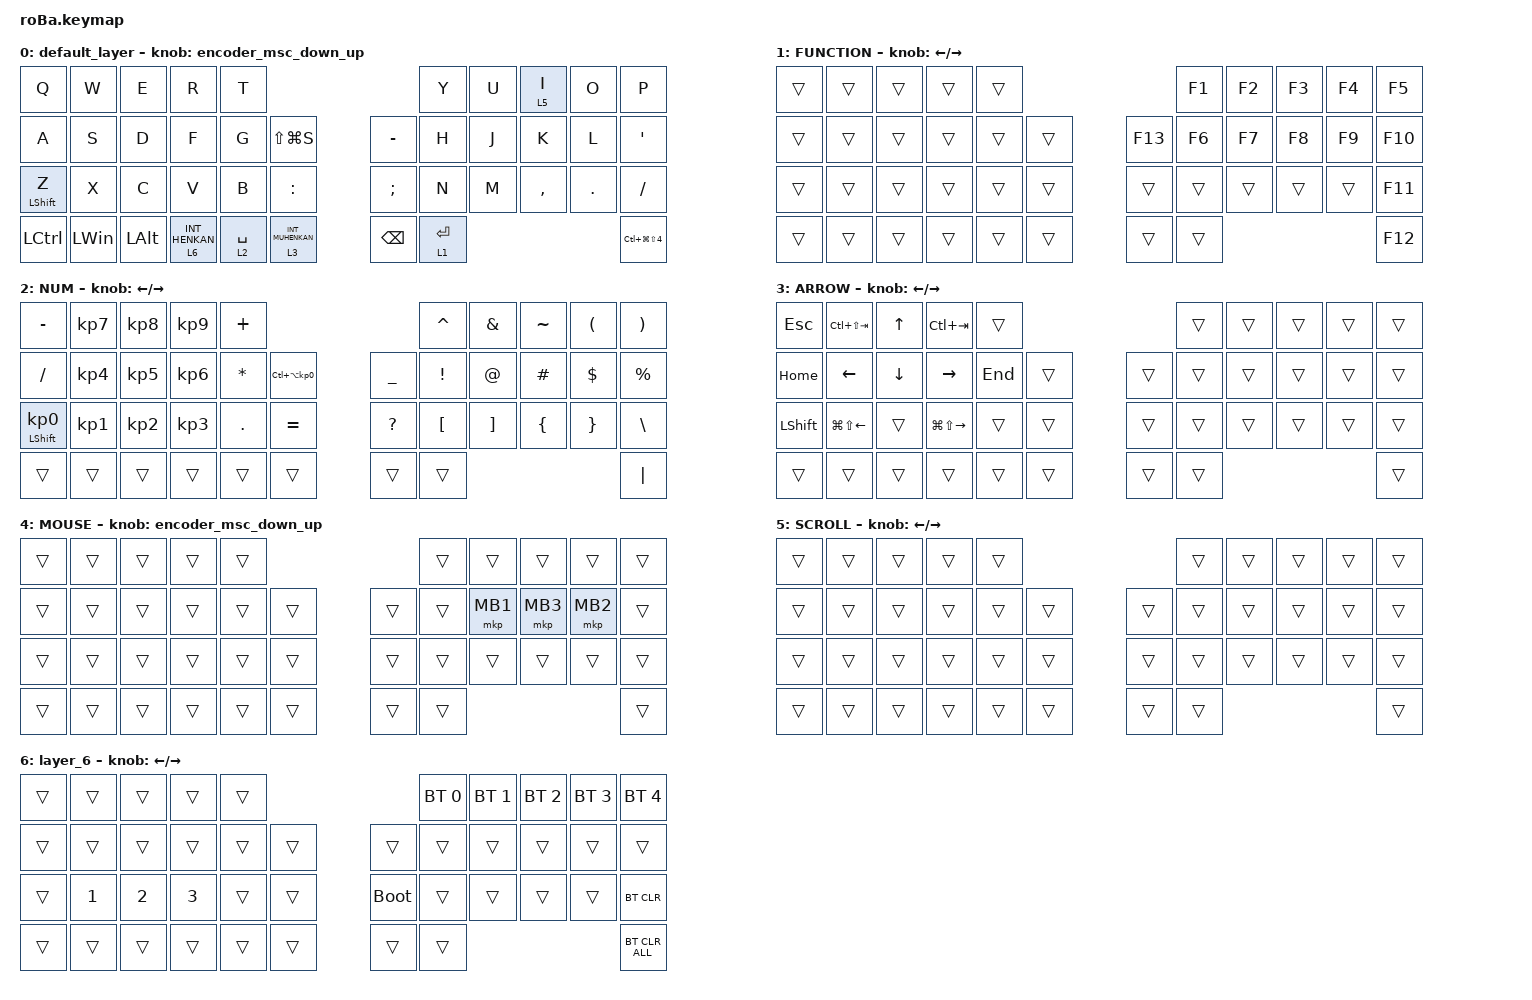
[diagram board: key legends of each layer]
#include <behaviors.dtsi>
#include <dt-bindings/zmk/bt.h>
#include <dt-bindings/zmk/keys.h>
#include <dt-bindings/zmk/pointing.h>

// 1ノッチあたりのスクロール量
#define ZMK_POINTING_DEFAULT_SCRL_VAL 80

&mt {
    flavor = "balanced";
    quick-tap-ms = <0>;
};

&trackball {
    automouse-layer = <4>;
    scroll-layers = <5>;
};

/ {
    combos {
        compatible = "zmk,combos";

        tab {
            bindings = <&kp TAB>;
            key-positions = <11 12>;
        };

        shift_tab {
            bindings = <&kp LS(TAB)>;
            key-positions = <11 10>;
        };

        muhennkann {
            bindings = <&to_layer_0 INT_MUHENKAN>;
            key-positions = <11 10>;
        };

        double_quotation {
            bindings = <&kp DOUBLE_QUOTES>;
            key-positions = <20 21>;
        };

        eq {
            bindings = <&kp EQUAL>;
            key-positions = <24 25>;
        };

        leftsc {
            bindings = <&kp LG(LEFT)>;
            key-positions = <18 19>;
        };

        rightsc {
            bindings = <&kp LG(RIGHT_ARROW)>;
            key-positions = <19 20>;
        };

        fullsc {
            bindings = <&kp LG(UP_ARROW)>;
            key-positions = <18 19 20>;
        };

        missioncont {
            bindings = <&kp LC(UP_ARROW)>;
            key-positions = <13 18>;
        };

        cmd {
            bindings = <&kp LEFT_COMMAND>;
            key-positions = <18 41>;
        };
    };

    macros {
        to_layer_0: to_layer_0 {
            compatible = "zmk,behavior-macro-one-param";
            #binding-cells = <1>;
            bindings = <&to 0 &macro_param_1to1 &kp MACRO_PLACEHOLDER>;
            label = "TO_LAYER_0";
        };
    };

    behaviors {
        lt_to_layer_0: lt_to_layer_0 {
            compatible = "zmk,behavior-hold-tap";
            label = "LAYER_TAP_TO_0";
            bindings = <&mo>, <&to_layer_0>;

            #binding-cells = <2>;
            tapping-term-ms = <200>;
        };

        // マウススクロール用の設定
        encoder_msc_down_up: encoder_msc_down_up {
            compatible = "zmk,behavior-sensor-rotate";
            label = "ENCODER_MSC_DOWN_UP";
            #sensor-binding-cells = <0>;
            bindings = <&msc SCRL_DOWN>, <&msc SCRL_UP>;

            tap-ms = <20>;
        };
    };

    keymap {
        compatible = "zmk,keymap";

        default_layer {
            bindings = <
&kp Q             &kp W         &kp E         &kp R                        &kp T                                                          &kp Y        &kp U  &lt 5 I    &kp O    &kp P
&kp A             &kp S         &kp D         &kp F                        &kp G        &kp LS(LG(S))                      &kp MINUS      &kp H        &kp J  &kp K      &kp L    &kp SQT
&mt LEFT_SHIFT Z  &kp X         &kp C         &kp V                        &kp B        &kp COLON                          &kp SEMICOLON  &kp N        &kp M  &kp COMMA  &kp DOT  &kp SLASH
&kp LCTRL         &kp LEFT_WIN  &kp LEFT_ALT  &lt_to_layer_0 6 INT_HENKAN  &lt 2 SPACE  &lt_to_layer_0 3 INT_MUHENKAN      &kp BACKSPACE  &lt 1 ENTER                             &kp LC(LG(LS(N4)))
            >;

            // デフォルトはマウススクロール
            sensor-bindings = <&encoder_msc_down_up>;
        };

        FUNCTION {
            bindings = <
&trans  &trans  &trans  &trans  &trans                       &kp F1  &kp F2  &kp F3  &kp F4  &kp F5
&trans  &trans  &trans  &trans  &trans  &trans      &kp F13  &kp F6  &kp F7  &kp F8  &kp F9  &kp F10
&trans  &trans  &trans  &trans  &trans  &trans      &trans   &trans  &trans  &trans  &trans  &kp F11
&trans  &trans  &trans  &trans  &trans  &trans      &trans   &trans                          &kp F12
            >;

            // ★追加：文字移動用（上:左 / 下:右）
            sensor-bindings = <&inc_dec_kp LEFT RIGHT>;
        };

        NUM {
            bindings = <
&kp MINUS                   &kp KP_NUMBER_7  &kp KP_NUMBER_8  &kp KP_NUMBER_9  &kp PLUS                                                   &kp CARET         &kp AMPERSAND      &kp TILDE       &kp LEFT_PARENTHESIS  &kp RIGHT_PARENTHESIS
&kp SLASH                   &kp KP_NUMBER_4  &kp KP_NUMBER_5  &kp KP_NUMBER_6  &kp ASTERISK  &kp LC(LA(KP_NUMBER_0))      &kp UNDERSCORE  &kp EXCLAMATION   &kp AT_SIGN        &kp HASH        &kp DOLLAR            &kp PERCENT
&mt LEFT_SHIFT KP_NUMBER_0  &kp KP_NUMBER_1  &kp KP_NUMBER_2  &kp KP_NUMBER_3  &kp PERIOD    &kp EQUAL                    &kp QUESTION    &kp LEFT_BRACKET  &kp RIGHT_BRACKET  &kp LEFT_BRACE  &kp RIGHT_BRACE       &kp BACKSLASH
&trans                      &trans           &trans           &trans           &trans        &trans                       &trans          &trans                                                                     &kp PIPE
            >;

            sensor-bindings = <&inc_dec_kp LEFT RIGHT>;
        };

        ARROW {
            bindings = <
&kp ESCAPE      &kp LC(LS(TAB))         &kp UP_ARROW    &kp LC(TAB)              &trans                       &trans  &trans  &trans  &trans  &trans
&kp HOME        &kp LEFT_ARROW          &kp DOWN_ARROW  &kp RIGHT_ARROW          &kp END  &trans      &trans  &trans  &trans  &trans  &trans  &trans
&kp LEFT_SHIFT  &kp LG(LS(LEFT_ARROW))  &trans          &kp LG(LS(RIGHT_ARROW))  &trans   &trans      &trans  &trans  &trans  &trans  &trans  &trans
&trans          &trans                  &trans          &trans                   &trans   &trans      &trans  &trans                          &trans
            >;

            // ★変更：以前のページアップダウンから文字移動に変更
            sensor-bindings = <&inc_dec_kp LEFT RIGHT>;
        };

        MOUSE {
            bindings = <
&trans  &trans  &trans  &trans  &trans                      &trans  &trans    &trans    &trans    &trans
&trans  &trans  &trans  &trans  &trans  &trans      &trans  &trans  &mkp MB1  &mkp MB3  &mkp MB2  &trans
&trans  &trans  &trans  &trans  &trans  &trans      &trans  &trans  &trans    &trans    &trans    &trans
&trans  &trans  &trans  &trans  &trans  &trans      &trans  &trans                                &trans
            >;

            sensor-bindings = <&encoder_msc_down_up>;
        };

        SCROLL {
            bindings = <
&trans  &trans  &trans  &trans  &trans                      &trans  &trans  &trans  &trans  &trans
&trans  &trans  &trans  &trans  &trans  &trans      &trans  &trans  &trans  &trans  &trans  &trans
&trans  &trans  &trans  &trans  &trans  &trans      &trans  &trans  &trans  &trans  &trans  &trans
&trans  &trans  &trans  &trans  &trans  &trans      &trans  &trans                          &trans
            >;

            sensor-bindings = <&inc_dec_kp LEFT RIGHT>;
        };

        layer_6 {
            bindings = <
&trans  &trans        &trans        &trans        &trans                           &bt BT_SEL 0  &bt BT_SEL 1  &bt BT_SEL 2  &bt BT_SEL 3  &bt BT_SEL 4
&trans  &trans        &trans        &trans        &trans  &trans      &trans       &trans        &trans        &trans        &trans        &trans
&trans  &kp NUMBER_1  &kp NUMBER_2  &kp NUMBER_3  &trans  &trans      &bootloader  &trans        &trans        &trans        &trans        &bt BT_CLR
&trans  &trans        &trans        &trans        &trans  &trans      &trans       &trans                                                  &bt BT_CLR_ALL
            >;

            sensor-bindings = <&inc_dec_kp LEFT RIGHT>;
        };
    };
};
